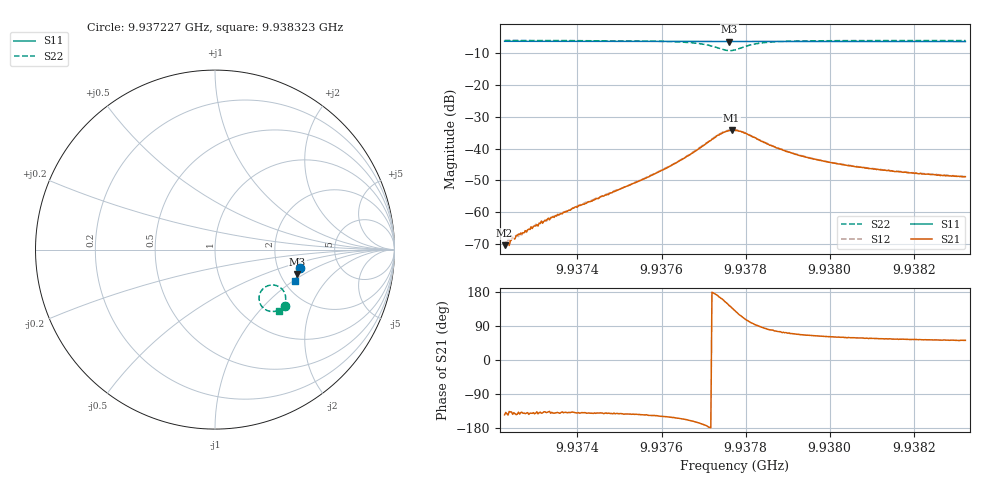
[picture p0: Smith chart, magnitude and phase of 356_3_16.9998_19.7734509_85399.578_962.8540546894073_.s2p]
#  HZ  S  RI  R  50.00
! Rohde & Schwarz Vector Network Analyzer
! Rohde-Schwarz,ZNB20-2Port,1311601062101988,3.16
! Created: UTC 3/20/2024, 11:08:03 PM
! freq[Hz]  re:S11  im:S11  re:S21  im:S21  re:S12  im:S12  re:S22  im:S22
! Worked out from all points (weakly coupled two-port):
!   401 points, 9.937227 GHz to 9.938323 GHz, reference 50 ohm
!   highest |S21| = -34.17 dB at 9.937767 GHz (marker M1); lowest = -70.4 dB at 9.937227 GHz (marker M2)
!   lowest |S11| = -6.4 dB at 9.937761 GHz (marker M3), VSWR 2.84, Z = 124 - j44.2 ohm
!   |S11| at or under -10 dB: nowhere
!   |S22| runs from -9.2 to -6.0 dB; largest |S21 - S12| = 0.00076
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9.9372267e9  0.4727 -0.1035  -0.000246 -0.000174  -0.00023 -0.000183  0.3884 -0.312
9.9372404e9  0.4724 -0.1043  -0.000258 -0.000239  -0.000271 -0.000205  0.3877 -0.3127
9.9372596e9  0.472 -0.1057  -0.000336 -0.000306  -0.000327 -0.000256  0.3864 -0.3142
9.9372733e9  0.4717 -0.1067  -0.000366 -0.000307  -0.000392 -0.000346  0.3853 -0.3153
9.9372952e9  0.4712 -0.1079  -0.000456 -0.000396  -0.000478 -0.000368  0.3836 -0.3166
9.9373253e9  0.4707 -0.11  -0.000559 -0.000493  -0.000545 -0.000473  0.3812 -0.3189
9.9374103e9  0.4689 -0.1157  -0.000984 -0.000867  -0.00103 -0.000878  0.3734 -0.3255
9.9375035e9  0.4669 -0.1219  -0.00184 -0.00147  -0.00187 -0.00143  0.3617 -0.3337
9.9375939e9  0.4647 -0.1281  -0.00368 -0.00231  -0.00375 -0.0023  0.3416 -0.3422
9.9376487e9  0.4633 -0.1317  -0.00613 -0.0028  -0.0063 -0.00277  0.3188 -0.3454
9.9377008e9  0.4614 -0.1352  -0.0112 -0.0018  -0.0114 -0.00164  0.2782 -0.3325
9.9377364e9  0.46 -0.137  -0.0158 0.00381  -0.0162 0.0041  0.2465 -0.2843
9.9377611e9  0.4589 -0.1376  -0.0154 0.0114  -0.0155 0.012  0.2609 -0.2256
9.9377666e9  0.4591 -0.1377  -0.0146 0.013  -0.0142 0.0136  0.2712 -0.2147
9.9377748e9  0.459 -0.1379  -0.0123 0.0149  -0.0122 0.0154  0.2903 -0.2029
9.9377995e9  0.4594 -0.1391  -0.00516 0.0167  -0.00496 0.0168  0.3471 -0.2024
9.9378351e9  0.4592 -0.1416  0.000617 0.0133  0.000917 0.0135  0.3857 -0.2378
9.9378954e9  0.4581 -0.1462  0.00274 0.00865  0.00298 0.00862  0.3935 -0.2801
9.9379584e9  0.4566 -0.1505  0.003 0.00629  0.00315 0.00626  0.3882 -0.3019
9.9380406e9  0.4546 -0.1559  0.00281 0.00466  0.00288 0.00474  0.38 -0.3175
9.938142e9  0.4518 -0.1625  0.00253 0.00374  0.00262 0.00369  0.3716 -0.3295
9.9383229e9  0.4468 -0.174  0.00224 0.00285  0.00233 0.0028  0.3588 -0.3441
